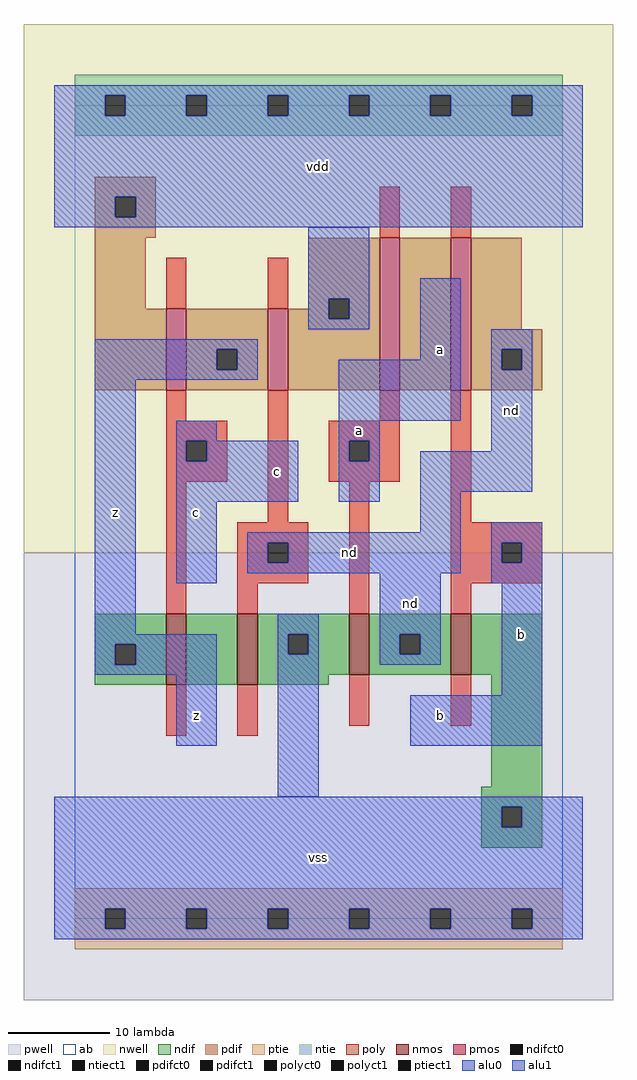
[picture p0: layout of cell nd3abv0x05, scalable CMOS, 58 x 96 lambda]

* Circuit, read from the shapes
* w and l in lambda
.subckt nd3abv0x05 a b c nd vdd vss z
M1 n1 c z vss nfet w=7 l=2
M2 vss nd n1 vss nfet w=7 l=2
M3 nd a vss vss nfet w=6 l=2
M4 vss b nd vss nfet w=6 l=2
M5 z c vdd vdd pfet w=8 l=2
M6 vdd nd z vdd pfet w=8 l=2
M7 n2 a vdd vdd pfet w=15 l=2
M8 nd b n2 vdd pfet w=15 l=2
.ends

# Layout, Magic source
magic
tech scmos
<< ab >>
rect 0 0 48 80
<< nwell >>
rect -5 36 53 88
<< pwell >>
rect -5 -8 53 36
<< poly >>
rect 30 67 32 72
rect 37 67 39 72
rect 9 60 11 65
rect 19 60 21 65
rect 9 49 11 52
rect 9 47 15 49
rect 9 45 11 47
rect 13 45 15 47
rect 9 43 15 45
rect 9 30 11 43
rect 19 39 21 52
rect 30 49 32 52
rect 25 47 32 49
rect 25 45 27 47
rect 29 45 32 47
rect 25 43 32 45
rect 16 37 23 39
rect 16 35 19 37
rect 21 35 23 37
rect 16 33 23 35
rect 16 30 18 33
rect 27 30 29 43
rect 37 39 39 52
rect 37 37 46 39
rect 37 35 42 37
rect 44 35 46 37
rect 37 33 46 35
rect 37 30 39 33
rect 9 18 11 23
rect 16 18 18 23
rect 27 19 29 24
rect 37 19 39 24
<< ndif >>
rect 2 27 9 30
rect 2 25 4 27
rect 6 25 9 27
rect 2 23 9 25
rect 11 23 16 30
rect 18 28 27 30
rect 18 26 21 28
rect 23 26 27 28
rect 18 24 27 26
rect 29 28 37 30
rect 29 26 32 28
rect 34 26 37 28
rect 29 24 37 26
rect 39 24 46 30
rect 18 23 25 24
rect 41 13 46 24
rect 40 11 46 13
rect 40 9 42 11
rect 44 9 46 11
rect 40 7 46 9
<< pdif >>
rect 2 71 8 73
rect 2 69 4 71
rect 6 69 8 71
rect 2 67 8 69
rect 2 60 7 67
rect 23 61 30 67
rect 23 60 25 61
rect 2 52 9 60
rect 11 56 19 60
rect 11 54 14 56
rect 16 54 19 56
rect 11 52 19 54
rect 21 59 25 60
rect 27 59 30 61
rect 21 52 30 59
rect 32 52 37 67
rect 39 58 44 67
rect 39 56 46 58
rect 39 54 42 56
rect 44 54 46 56
rect 39 52 46 54
<< alu1 >>
rect -2 81 50 82
rect -2 79 3 81
rect 5 79 11 81
rect 13 79 19 81
rect 21 79 27 81
rect 29 79 35 81
rect 37 79 43 81
rect 45 79 50 81
rect -2 71 50 79
rect -2 69 4 71
rect 6 69 50 71
rect -2 68 50 69
rect 2 56 18 57
rect 2 54 14 56
rect 16 54 18 56
rect 34 55 38 63
rect 2 53 18 54
rect 2 28 6 53
rect 26 49 38 55
rect 10 47 14 49
rect 26 47 30 49
rect 10 45 11 47
rect 13 45 22 47
rect 10 41 22 45
rect 26 45 27 47
rect 29 45 30 47
rect 26 41 30 45
rect 10 33 14 41
rect 41 37 46 39
rect 41 35 42 37
rect 44 35 46 37
rect 2 27 14 28
rect 2 25 4 27
rect 6 25 14 27
rect 2 24 14 25
rect 10 17 14 24
rect 41 33 46 35
rect 42 22 46 33
rect 33 17 46 22
rect -2 11 50 12
rect -2 9 42 11
rect 44 9 50 11
rect -2 1 50 9
rect -2 -1 3 1
rect 5 -1 11 1
rect 13 -1 19 1
rect 21 -1 27 1
rect 29 -1 35 1
rect 37 -1 43 1
rect 45 -1 50 1
rect -2 -2 50 -1
<< ptie >>
rect 0 1 48 3
rect 0 -1 3 1
rect 5 -1 11 1
rect 13 -1 19 1
rect 21 -1 27 1
rect 29 -1 35 1
rect 37 -1 43 1
rect 45 -1 48 1
rect 0 -3 48 -1
<< ntie >>
rect 0 81 48 83
rect 0 79 3 81
rect 5 79 11 81
rect 13 79 19 81
rect 21 79 27 81
rect 29 79 35 81
rect 37 79 43 81
rect 45 79 48 81
rect 0 77 48 79
<< nmos >>
rect 9 23 11 30
rect 16 23 18 30
rect 27 24 29 30
rect 37 24 39 30
<< pmos >>
rect 9 52 11 60
rect 19 52 21 60
rect 30 52 32 67
rect 37 52 39 67
<< polyct0 >>
rect 19 35 21 37
<< polyct1 >>
rect 11 45 13 47
rect 27 45 29 47
rect 42 35 44 37
<< ndifct0 >>
rect 21 26 23 28
rect 32 26 34 28
<< ndifct1 >>
rect 4 25 6 27
rect 42 9 44 11
<< ntiect1 >>
rect 3 79 5 81
rect 11 79 13 81
rect 19 79 21 81
rect 27 79 29 81
rect 35 79 37 81
rect 43 79 45 81
<< ptiect1 >>
rect 3 -1 5 1
rect 11 -1 13 1
rect 19 -1 21 1
rect 27 -1 29 1
rect 35 -1 37 1
rect 43 -1 45 1
<< pdifct0 >>
rect 25 59 27 61
rect 42 54 44 56
<< pdifct1 >>
rect 4 69 6 71
rect 14 54 16 56
<< alu0 >>
rect 23 61 29 68
rect 23 59 25 61
rect 27 59 29 61
rect 23 58 29 59
rect 41 56 45 58
rect 41 54 42 56
rect 44 54 45 56
rect 41 46 45 54
rect 34 42 45 46
rect 34 38 38 42
rect 17 37 38 38
rect 17 35 19 37
rect 21 35 38 37
rect 17 34 38 35
rect 20 28 24 30
rect 20 26 21 28
rect 23 26 24 28
rect 20 12 24 26
rect 30 28 36 34
rect 30 26 32 28
rect 34 26 36 28
rect 30 25 36 26
<< labels >>
rlabel alu0 33 31 33 31 6 nd
rlabel alu0 27 36 27 36 6 nd
rlabel alu0 43 50 43 50 6 nd
rlabel alu1 4 40 4 40 6 z
rlabel alu1 12 20 12 20 6 z
rlabel alu1 20 44 20 44 6 c
rlabel alu1 12 40 12 40 6 c
rlabel alu1 24 6 24 6 6 vss
rlabel alu1 28 48 28 48 6 a
rlabel alu1 24 74 24 74 6 vdd
rlabel alu1 36 20 36 20 6 b
rlabel alu1 44 28 44 28 6 b
rlabel alu1 36 56 36 56 6 a
<< end >>
